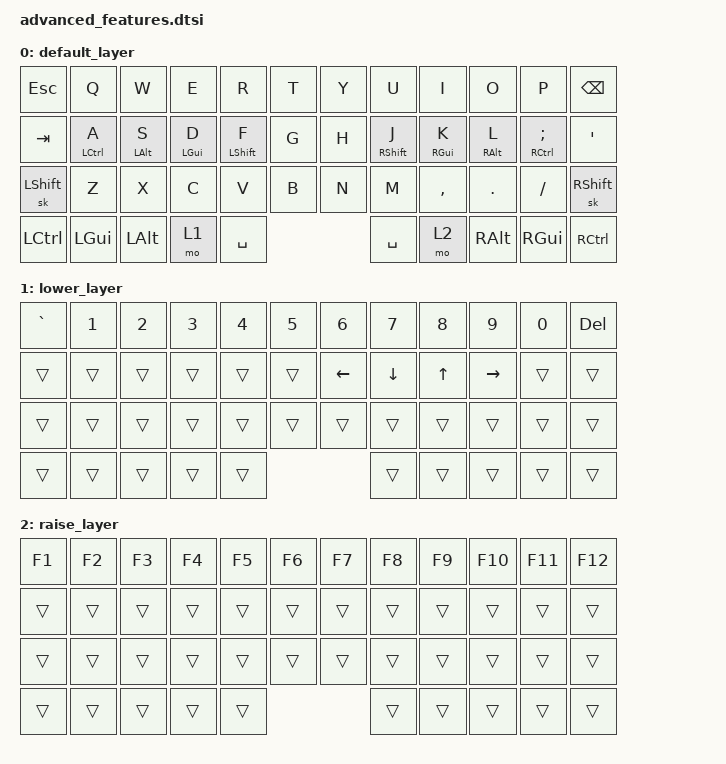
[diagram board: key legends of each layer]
/*
 * Advanced features ZMK keymap example
 */

#include <behaviors.dtsi>
#include <dt-bindings/zmk/keys.h>
#include <dt-bindings/zmk/bt.h>

/ {
    behaviors {
        // Using standard behaviors that our converter supports

        sk: sticky_key {
            compatible = "zmk,behavior-sticky-key";
            label = "STICKY_KEY";
            #binding-cells = <1>;
            bindings = <&kp>;
            release-after-ms = <1000>;
            quick-release;
        };
    };

    keymap {
        compatible = "zmk,keymap";

        default_layer {
            bindings = <
                &kp ESC   &kp Q &kp W &kp E &kp R &kp T   &kp Y &kp U  &kp I     &kp O   &kp P    &kp BSPC
                &kp TAB   &mt LCTRL A &mt LALT S &mt LGUI D &mt LSHIFT F &kp G   &kp H &mt RSHIFT J  &mt RGUI K &mt RALT L &mt RCTRL SEMI &kp SQT
                &sk LSHFT &kp Z &kp X &kp C &kp V &kp B   &kp N &kp M  &kp COMMA &kp DOT &kp FSLH &sk RSHFT
                &kp LCTRL &kp LGUI &kp LALT &mo 1 &kp SPACE &kp SPACE &mo 2 &kp RALT &kp RGUI &kp RCTRL
            >;
        };

        lower_layer {
            bindings = <
                &kp GRAVE &kp N1 &kp N2 &kp N3 &kp N4 &kp N5   &kp N6 &kp N7 &kp N8 &kp N9 &kp N0 &kp DEL
                &trans    &trans &trans &trans &trans &trans   &kp LEFT &kp DOWN &kp UP &kp RIGHT &trans &trans
                &trans    &trans &trans &trans &trans &trans   &trans &trans &trans &trans &trans &trans
                &trans    &trans &trans &trans &trans &trans   &trans &trans &trans &trans
            >;
        };

        raise_layer {
            bindings = <
                &kp F1    &kp F2 &kp F3 &kp F4 &kp F5 &kp F6   &kp F7 &kp F8 &kp F9 &kp F10 &kp F11 &kp F12
                &trans    &trans &trans &trans &trans &trans   &trans &trans &trans &trans &trans &trans
                &trans    &trans &trans &trans &trans &trans   &trans &trans &trans &trans &trans &trans
                &trans    &trans &trans &trans &trans &trans   &trans &trans &trans &trans
            >;
        };
    };
};
